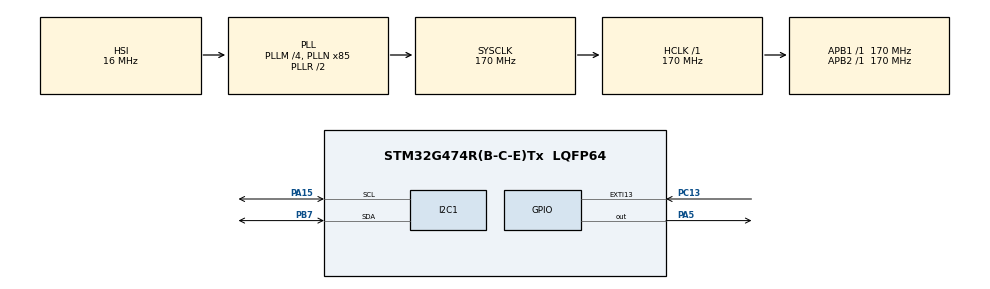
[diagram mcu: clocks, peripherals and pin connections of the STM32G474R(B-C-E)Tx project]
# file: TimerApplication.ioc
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I2C1.Timing=0x40B285C2
Mcu.Family=STM32G4
Mcu.Name=STM32G474R(B-C-E)Tx
Mcu.Package=LQFP64
NUCLEO-G474RE.BUTTON=1
NUCLEO-G474RE.LD2=true
NUCLEO-G474RE.VCP=true
NVIC.EXTI15_10_IRQn=true\:0\:0\:false\:false\:true\:true\:true\:true
NVIC.PriorityGroup=NVIC_PRIORITYGROUP_4
PA13.GPIO_Label=T_SWDIO
PA13.Signal=SYS_JTMS-SWDIO
PA14.GPIO_Label=T_SWCLK
PA14.Signal=SYS_JTCK-SWCLK
PA15.Mode=I2C
PA15.Signal=I2C1_SCL
PA2.Signal=LPUART1_TX
PA3.Signal=LPUART1_RX
PA5.Signal=GPIO_Output
PB3.GPIO_Label=T_SWO
PB3.Signal=SYS_JTDO-SWO
PB7.Mode=I2C
PB7.Signal=I2C1_SDA
PC13.Signal=GPXTI13
PC14-OSC32_IN.GPIO_Label=RCC_OSC32_IN
PC14-OSC32_IN.Signal=RCC_OSC32_IN
PC15-OSC32_OUT.GPIO_Label=RCC_OSC32_OUT
PC15-OSC32_OUT.Signal=RCC_OSC32_OUT
PF0-OSC_IN.GPIO_Label=RCC_OSC_IN
PF0-OSC_IN.Signal=RCC_OSC_IN
PF1-OSC_OUT.GPIO_Label=RCC_OSC_OUT
PF1-OSC_OUT.Signal=RCC_OSC_OUT
ProjectManager.HeapSize=0x200
ProjectManager.StackSize=0x400
ProjectManager.TargetToolchain=STM32CubeIDE
RCC.ADC12Freq_Value=170000000
RCC.ADC345Freq_Value=170000000
RCC.AHBFreq_Value=170000000
RCC.APB1Freq_Value=170000000
RCC.APB1TimFreq_Value=170000000
RCC.APB2Freq_Value=170000000
RCC.APB2TimFreq_Value=170000000
RCC.CortexFreq_Value=170000000
RCC.EXTERNAL_CLOCK_VALUE=12288000
RCC.HCLKFreq_Value=170000000
RCC.HSE_VALUE=24000000
RCC.HSI48_VALUE=48000000
RCC.HSI_VALUE=16000000
RCC.LSE_VALUE=32768
RCC.PLLM=RCC_PLLM_DIV4
RCC.PLLN=85
RCC.RTCClockSelection=RCC_RTCCLKSOURCE_LSE
RCC.SYSCLKFreq_VALUE=170000000
RCC.SYSCLKSource=RCC_SYSCLKSOURCE_PLLCLK
RCC.USBFreq_Value=170000000
RCC.VCOOutputFreq_Value=340000000
VP_NUCLEO-G474RE_VS_BSP_COMMON.Mode=COMMON
VP_SYS_VS_DBSignals.Mode=DisableDeadBatterySignals
board=NUCLEO-G474RE

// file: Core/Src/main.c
/* USER CODE BEGIN Header */
/**
  ******************************************************************************
  * @file           : main.c
  * @brief          : Main program body
  ******************************************************************************
  * @attention
  *
  * Copyright (c) 2025 STMicroelectronics.
  * All rights reserved.
  *
  * This software is licensed under terms that can be found in the LICENSE file
  * in the root directory of this software component.
  * If no LICENSE file comes with this software, it is provided AS-IS.
  *
  ******************************************************************************
  */
/* USER CODE END Header */
#include "main.h"

/* USER CODE BEGIN Includes */
#include "i2c_lcd.h"
#include <string.h>
#include <stdio.h>
#include <stdbool.h>
/* USER CODE END Includes */

COM_InitTypeDef BspCOMInit;
I2C_HandleTypeDef hi2c1;

/* USER CODE BEGIN PV */
uint8_t lcdAddr;
I2C_LCD_HandleTypeDef lcd;
/* USER CODE END PV */

void SystemClock_Config(void);
static void MX_GPIO_Init(void);
static void MX_I2C1_Init(void);
void I2C_Scanner(void);
void Write_Str(char *messageBuffer, unsigned int len);

int main(void)
{

  /* MCU Configuration--------------------------------------------------------*/

  /* Reset of all peripherals, Initializes the Flash interface and the Systick. */
  HAL_Init();

  /* Configure the system clock */
  SystemClock_Config();

  /* Initialize all configured peripherals */
  MX_GPIO_Init();
  MX_I2C1_Init();

  /* Initialize led */
  BSP_LED_Init(LED_GREEN);

  /* Initialize USER push-button, will be used to trigger an interrupt each time it's pressed.*/
  BSP_PB_Init(BUTTON_USER, BUTTON_MODE_EXTI);

  /* Initialize COM1 port (115200, 8 bits (7-bit data + 1 stop bit), no parity */
  BspCOMInit.BaudRate   = 115200;
  BspCOMInit.WordLength = COM_WORDLENGTH_8B;
  BspCOMInit.StopBits   = COM_STOPBITS_1;
  BspCOMInit.Parity     = COM_PARITY_NONE;
  BspCOMInit.HwFlowCtl  = COM_HWCONTROL_NONE;
  if (BSP_COM_Init(COM1, &BspCOMInit) != BSP_ERROR_NONE)
  {
    Error_Handler();
  }

  /* Infinite loop */
  /* USER CODE BEGIN WHILE */

  I2C_Scanner(); // Get lcd address

  // Initialize lcd

  lcd.hi2c = &hi2c1;
  lcd.address = lcdAddr;
  lcd_init(&lcd);

  char message[20];
  while (1)
  {

      for (int i = 0; i < 10; i++) {
          lcd_clear(&lcd);
          snprintf(message, 20 ,"Message %d", i);
          lcd_puts(&lcd, message);
          Write_Str("\n\r", 2);
          Write_Str(message, 20);
          HAL_Delay(1000);
      }
    /* USER CODE END WHILE */

  }
}

void SystemClock_Config(void)
{
  RCC_OscInitTypeDef RCC_OscInitStruct = {0};
  RCC_ClkInitTypeDef RCC_ClkInitStruct = {0};

  /** Configure the main internal regulator output voltage
  */
  HAL_PWREx_ControlVoltageScaling(PWR_REGULATOR_VOLTAGE_SCALE1_BOOST);

  /** Initializes the RCC Oscillators according to the specified parameters
  * in the RCC_OscInitTypeDef structure.
  */
  RCC_OscInitStruct.OscillatorType = RCC_OSCILLATORTYPE_HSI;
  RCC_OscInitStruct.HSIState = RCC_HSI_ON;
  RCC_OscInitStruct.HSICalibrationValue = RCC_HSICALIBRATION_DEFAULT;
  RCC_OscInitStruct.PLL.PLLState = RCC_PLL_ON;
  RCC_OscInitStruct.PLL.PLLSource = RCC_PLLSOURCE_HSI;
  RCC_OscInitStruct.PLL.PLLM = RCC_PLLM_DIV4;
  RCC_OscInitStruct.PLL.PLLN = 85;
  RCC_OscInitStruct.PLL.PLLP = RCC_PLLP_DIV2;
  RCC_OscInitStruct.PLL.PLLQ = RCC_PLLQ_DIV2;
  RCC_OscInitStruct.PLL.PLLR = RCC_PLLR_DIV2;
  if (HAL_RCC_OscConfig(&RCC_OscInitStruct) != HAL_OK)
  {
    Error_Handler();
  }

  /** Initializes the CPU, AHB and APB buses clocks
  */
  RCC_ClkInitStruct.ClockType = RCC_CLOCKTYPE_HCLK|RCC_CLOCKTYPE_SYSCLK
                              |RCC_CLOCKTYPE_PCLK1|RCC_CLOCKTYPE_PCLK2;
  RCC_ClkInitStruct.SYSCLKSource = RCC_SYSCLKSOURCE_PLLCLK;
  RCC_ClkInitStruct.AHBCLKDivider = RCC_SYSCLK_DIV1;
  RCC_ClkInitStruct.APB1CLKDivider = RCC_HCLK_DIV1;
  RCC_ClkInitStruct.APB2CLKDivider = RCC_HCLK_DIV1;

  if (HAL_RCC_ClockConfig(&RCC_ClkInitStruct, FLASH_LATENCY_4) != HAL_OK)
  {
    Error_Handler();
  }
}

static void MX_I2C1_Init(void)
{

  hi2c1.Instance = I2C1;
  hi2c1.Init.Timing = 0x40B285C2;
  hi2c1.Init.OwnAddress1 = 0;
  hi2c1.Init.AddressingMode = I2C_ADDRESSINGMODE_7BIT;
  hi2c1.Init.DualAddressMode = I2C_DUALADDRESS_DISABLE;
  hi2c1.Init.OwnAddress2 = 0;
  hi2c1.Init.OwnAddress2Masks = I2C_OA2_NOMASK;
  hi2c1.Init.GeneralCallMode = I2C_GENERALCALL_DISABLE;
  hi2c1.Init.NoStretchMode = I2C_NOSTRETCH_DISABLE;
  if (HAL_I2C_Init(&hi2c1) != HAL_OK)
  {
    Error_Handler();
  }

  /** Configure Analogue filter
  */
  if (HAL_I2CEx_ConfigAnalogFilter(&hi2c1, I2C_ANALOGFILTER_ENABLE) != HAL_OK)
  {
    Error_Handler();
  }

  /** Configure Digital filter
  */
  if (HAL_I2CEx_ConfigDigitalFilter(&hi2c1, 0) != HAL_OK)
  {
    Error_Handler();
  }

}

static void MX_GPIO_Init(void)
{

  /* GPIO Ports Clock Enable */
  __HAL_RCC_GPIOC_CLK_ENABLE();
  __HAL_RCC_GPIOF_CLK_ENABLE();
  __HAL_RCC_GPIOA_CLK_ENABLE();
  __HAL_RCC_GPIOB_CLK_ENABLE();

}

/* USER CODE BEGIN 4 */

/*
 * I2C Scanner
 * Detects an I2C device connected on the bus. This device must be connected to I2C1.
 * The address found is then printed over UART.
 */
void I2C_Scanner(void)
{
    uint8_t addr = 1;
    bool addrFound = false;

    while (addr < 128 && !addrFound)
    {
        if (HAL_I2C_IsDeviceReady(&hi2c1, addr << 1, 1, 10) == HAL_OK) {
            char messageBuffer[255];
            snprintf(messageBuffer, 255, "\rDevice found at address: 0x%X\n", addr << 1);
            Write_Str(messageBuffer, strlen(messageBuffer));
            lcdAddr = addr << 1;
            addrFound = true;
        }
        addr++;
    }

}

/*
 * Write String
 *
 * Parameters:
 * str: pointer to string that will be printed
 * len: maximum number of characters to print
 *
 * Write a string over USART. This writes to USART2, which is the virtual com port by default.
 * For each character, wait until the USART2 transmit data register is ready to read. Then send a byte at a time.
 */
void Write_Str(char *str, unsigned int maxSize)
{
    unsigned int i = 0;
    while (i < maxSize && str[i] != '\0')
    {
        HAL_UART_Transmit(&hcom_uart[COM1], (uint8_t *)&str[i], 1, 100);
        i++;
    }
}

/* USER CODE END 4 */

void Error_Handler(void)
{
  __disable_irq();
  while (1)
  {
  }
}
